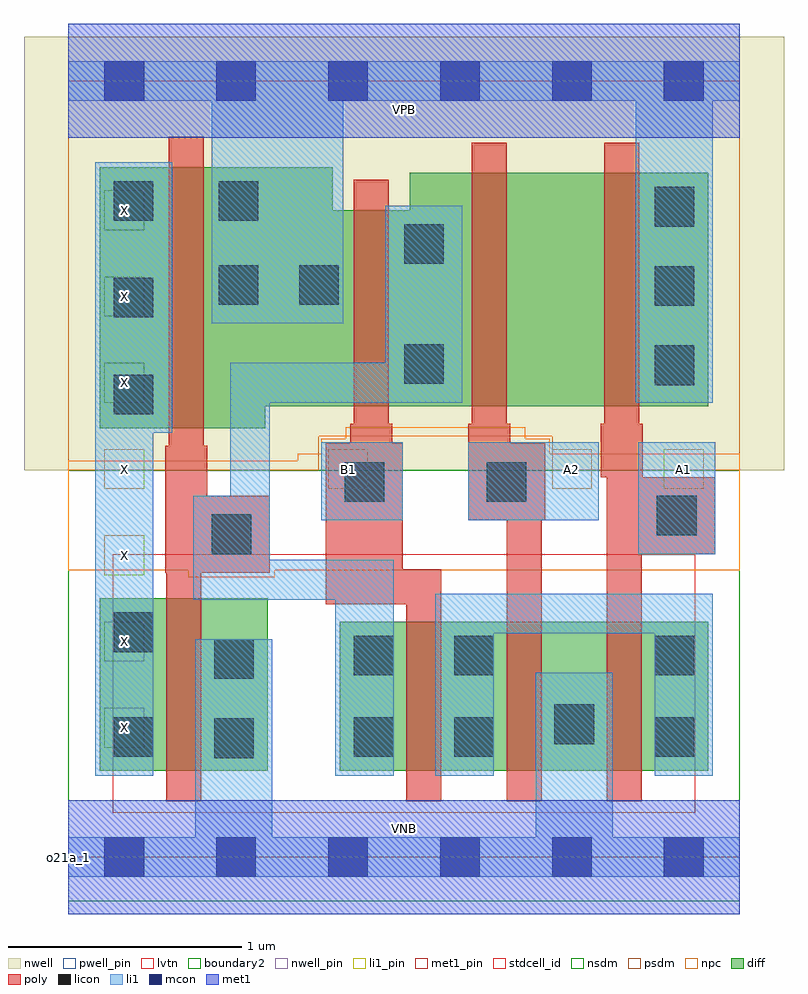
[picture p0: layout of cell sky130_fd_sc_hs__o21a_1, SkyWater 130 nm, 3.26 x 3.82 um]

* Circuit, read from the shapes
.subckt sky130_fd_sc_hs__o21a_1 A1 A2 B1 VGND VNB VPB VPWR X
XM1 VGND n1 X VNB sky130_fd_pr__nfet_01v8_lvt w=0.74 l=0.15
XM2 n2 B1 n1 VNB sky130_fd_pr__nfet_01v8_lvt w=0.64 l=0.15
XM3 VGND A2 n2 VNB sky130_fd_pr__nfet_01v8_lvt w=0.64 l=0.15
XM4 n2 A1 VGND VNB sky130_fd_pr__nfet_01v8_lvt w=0.64 l=0.15
XM5 VPWR n1 X VPB sky130_fd_pr__pfet_01v8 w=1.12 l=0.15
XM6 n1 B1 VPWR VPB sky130_fd_pr__pfet_01v8 w=0.84 l=0.15
XM7 n3 A2 n1 VPB sky130_fd_pr__pfet_01v8 w=1 l=0.15
XM8 VPWR A1 n3 VPB sky130_fd_pr__pfet_01v8 w=1 l=0.15
.ends

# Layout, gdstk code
import gdstk
lib = gdstk.Library(unit=1e-6, precision=1e-09)
def R(c, l, rs):  # rectangles x0, y0, x1, y1
    for r in rs: c.add(gdstk.rectangle(r[:2], r[2:], *l))
def A(c, l, x, y, w, h, nx, ny, dx, dy):  # array of equal rectangles
    R(c, l, [(x+i*dx, y+j*dy, x+i*dx+w, y+j*dy+h) for i in range(nx) for j in range(ny)])
def P(c, l, *ps):  # polygons
    for p in ps: c.add(gdstk.Polygon(p, *l))
nwell_pin = (64, 16)
nwell = (64, 20)
diff = (65, 20)
poly = (66, 20)
licon = (66, 44)
li1_pin = (67, 16)
li1 = (67, 20)
mcon = (67, 44)
met1_pin = (68, 16)
met1 = (68, 20)
stdcell_id = (81, 4)
nsdm = (93, 44)
psdm = (94, 20)
npc = (95, 20)
pwell_pin = (122, 16)
lvtn = (125, 44)
boundary2 = (236, 0)

sky130_fd_sc_hs__o21a_1 = lib.new_cell('sky130_fd_sc_hs__o21a_1')
R(sky130_fd_sc_hs__o21a_1, nwell_pin, [(0,3.085,2.88,3.33)])
R(sky130_fd_sc_hs__o21a_1, nwell, [(-0.19,1.66,3.07,3.52)])
R(sky130_fd_sc_hs__o21a_1, diff, [(0.135,0.37,0.855,1.11), (1.165,0.37,2.745,1.01)])
P(sky130_fd_sc_hs__o21a_1, diff, [(2.745,2.935),(1.465,2.935),(1.465,2.775),(1.135,2.775),(1.135,2.96),(0.135,2.96),(0.135,1.84),(0.845,1.84),(0.845,1.935),(2.745,1.935)])
P(sky130_fd_sc_hs__o21a_1, poly, [(2.045,1.775),(1.895,1.775),(1.895,1.86),(1.88,1.86),(1.88,3.065),(1.73,3.065),(1.73,1.86),(1.715,1.86),(1.715,1.445),(1.88,1.445),(1.88,0.24),(2.03,0.24),(2.03,1.445),(2.045,1.445)],
  [(2.775,1.63),(2.465,1.63),(2.465,1.86),(2.45,1.86),(2.45,3.065),(2.3,3.065),(2.3,1.86),(2.285,1.86),(2.285,1.63),(2.31,1.63),(2.31,0.24),(2.46,0.24),(2.46,1.3),(2.775,1.3)],
  [(0.865,1.55),(0.595,1.55),(0.595,1.765),(0.58,1.765),(0.58,3.09),(0.43,3.09),(0.43,1.765),(0.415,1.765),(0.415,1.22),(0.42,1.22),(0.42,0.24),(0.57,0.24),(0.57,1.22),(0.865,1.22)],
  [(1.6,1.235),(1.435,1.235),(1.435,1.775),(1.39,1.775),(1.39,1.86),(1.375,1.86),(1.375,2.905),(1.225,2.905),(1.225,1.86),(1.21,1.86),(1.21,1.775),(1.105,1.775),(1.105,1.085),(1.45,1.085),(1.45,0.24),(1.6,0.24)])
A(sky130_fd_sc_hs__o21a_1, licon, 0.195, 1.9, 0.17, 0.17, 1, 3, 0, 0.415)
A(sky130_fd_sc_hs__o21a_1, licon, 2.515, 2.025, 0.17, 0.17, 1, 3, 0, 0.34)
R(sky130_fd_sc_hs__o21a_1, licon, [(0.625,0.425,0.795,0.595), (0.195,0.43,0.365,0.6), (1.225,0.43,1.395,0.6), (1.655,0.43,1.825,0.6), (2.515,0.43,2.685,0.6), (2.085,0.485,2.255,0.655), (0.625,0.765,0.795,0.935), (1.225,0.78,1.395,0.95), (1.655,0.78,1.825,0.95), (2.515,0.78,2.685,0.95), (0.195,0.88,0.365,1.05), (0.615,1.3,0.785,1.47), (2.525,1.38,2.695,1.55), (1.185,1.525,1.355,1.695), (1.795,1.525,1.965,1.695), (1.44,2.03,1.61,2.2), (0.645,2.37,0.815,2.54), (0.99,2.37,1.16,2.54), (1.44,2.545,1.61,2.715), (0.645,2.73,0.815,2.9)])
A(sky130_fd_sc_hs__o21a_1, li1_pin, 0.155, 0.47, 0.17, 0.17, 1, 3, 0, 0.37)
A(sky130_fd_sc_hs__o21a_1, li1_pin, 0.155, 1.58, 0.17, 0.17, 3, 1, 0.96, 0)
A(sky130_fd_sc_hs__o21a_1, li1_pin, 0.155, 1.95, 0.17, 0.17, 1, 3, 0, 0.37)
R(sky130_fd_sc_hs__o21a_1, li1_pin, [(2.555,1.58,2.725,1.75)])
R(sky130_fd_sc_hs__o21a_1, li1, [(2.445,1.3,2.775,1.78), (1.085,1.445,1.435,1.78), (1.715,1.445,2.275,1.78)])
P(sky130_fd_sc_hs__o21a_1, li1, [(2.435,1.95),(2.435,3.245),(1.18,3.245),(1.18,2.29),(0.615,2.29),(0.615,3.245),(0,3.245),(0,3.415),(2.88,3.415),(2.88,3.245),(2.765,3.245),(2.765,1.95)],
  [(0.545,0.085),(0.545,0.935),(0.875,0.935),(0.875,0.085),(2.005,0.085),(2.005,0.79),(2.335,0.79),(2.335,0.085),(2.88,0.085),(2.88,-0.085),(0,-0.085),(0,0.085)],
  [(0.115,0.35),(0.115,2.98),(0.445,2.98),(0.445,1.82),(0.365,1.82),(0.365,0.35)],
  [(1.145,0.35),(1.145,1.105),(0.535,1.105),(0.535,1.55),(0.695,1.55),(0.695,2.12),(1.36,2.12),(1.36,2.795),(1.69,2.795),(1.69,1.95),(0.865,1.95),(0.865,1.275),(1.395,1.275),(1.395,0.35)],
  [(2.515,0.35),(2.515,0.96),(1.825,0.96),(1.825,0.35),(1.575,0.35),(1.575,1.13),(2.765,1.13),(2.765,0.35)])
A(sky130_fd_sc_hs__o21a_1, mcon, 0.155, -0.085, 0.17, 0.17, 6, 2, 0.48, 3.33)
R(sky130_fd_sc_hs__o21a_1, met1_pin, [(0,0,2.88,0.245), (0,3.085,2.88,3.33)])
R(sky130_fd_sc_hs__o21a_1, met1, [(0,-0.245,2.88,0.245), (0,3.085,2.88,3.575)])
R(sky130_fd_sc_hs__o21a_1, stdcell_id, [(0,0,2.88,3.33)])
R(sky130_fd_sc_hs__o21a_1, nsdm, [(0,-0.19,2.88,1.66)])
P(sky130_fd_sc_hs__o21a_1, psdm, [(2.88,3.52),(0,3.52),(0,1.66),(1.075,1.66),(1.075,1.805),(2.075,1.805),(2.075,1.66),(2.88,1.66)])
P(sky130_fd_sc_hs__o21a_1, npc, [(2.88,1.73),(2.065,1.73),(2.065,1.795),(1.96,1.795),(1.96,1.845),(1.19,1.845),(1.19,1.795),(1.085,1.795),(1.085,1.73),(0.985,1.73),(0.985,1.7),(0,1.7),(0,1.23),(0.515,1.23),(0.515,1.2),(0.885,1.2),(0.885,1.23),(2.88,1.23)])
R(sky130_fd_sc_hs__o21a_1, pwell_pin, [(0,0,2.88,0.245)])
R(sky130_fd_sc_hs__o21a_1, lvtn, [(0.19,0.19,2.69,1.3)])
R(sky130_fd_sc_hs__o21a_1, boundary2, [(0,0,2.88,3.33)])
sky130_fd_sc_hs__o21a_1.add(gdstk.Label('o21a_1', (0,0), layer=83, texttype=44))
sky130_fd_sc_hs__o21a_1.add(gdstk.Label('VNB', (1.44,0.123), layer=64, texttype=59))
sky130_fd_sc_hs__o21a_1.add(gdstk.Label('VPB', (1.44,3.208), layer=64, texttype=5))
sky130_fd_sc_hs__o21a_1.add(gdstk.Label('VPWR', (1.44,3.208), layer=68, texttype=5))
sky130_fd_sc_hs__o21a_1.add(gdstk.Label('VGND', (1.44,0.123), layer=68, texttype=5))
sky130_fd_sc_hs__o21a_1.add(gdstk.Label('X', (0.24,0.555), layer=67, texttype=5))
sky130_fd_sc_hs__o21a_1.add(gdstk.Label('X', (0.24,0.925), layer=67, texttype=5))
sky130_fd_sc_hs__o21a_1.add(gdstk.Label('X', (0.24,1.295), layer=67, texttype=5))
sky130_fd_sc_hs__o21a_1.add(gdstk.Label('X', (0.24,1.665), layer=67, texttype=5))
sky130_fd_sc_hs__o21a_1.add(gdstk.Label('X', (0.24,2.035), layer=67, texttype=5))
sky130_fd_sc_hs__o21a_1.add(gdstk.Label('X', (0.24,2.405), layer=67, texttype=5))
sky130_fd_sc_hs__o21a_1.add(gdstk.Label('X', (0.24,2.775), layer=67, texttype=5))
sky130_fd_sc_hs__o21a_1.add(gdstk.Label('A2', (2.16,1.665), layer=67, texttype=5))
sky130_fd_sc_hs__o21a_1.add(gdstk.Label('B1', (1.2,1.665), layer=67, texttype=5))
sky130_fd_sc_hs__o21a_1.add(gdstk.Label('A1', (2.64,1.665), layer=67, texttype=5))

lib.write_gds('sky130_fd_sc_hs__o21a_1.gds')
